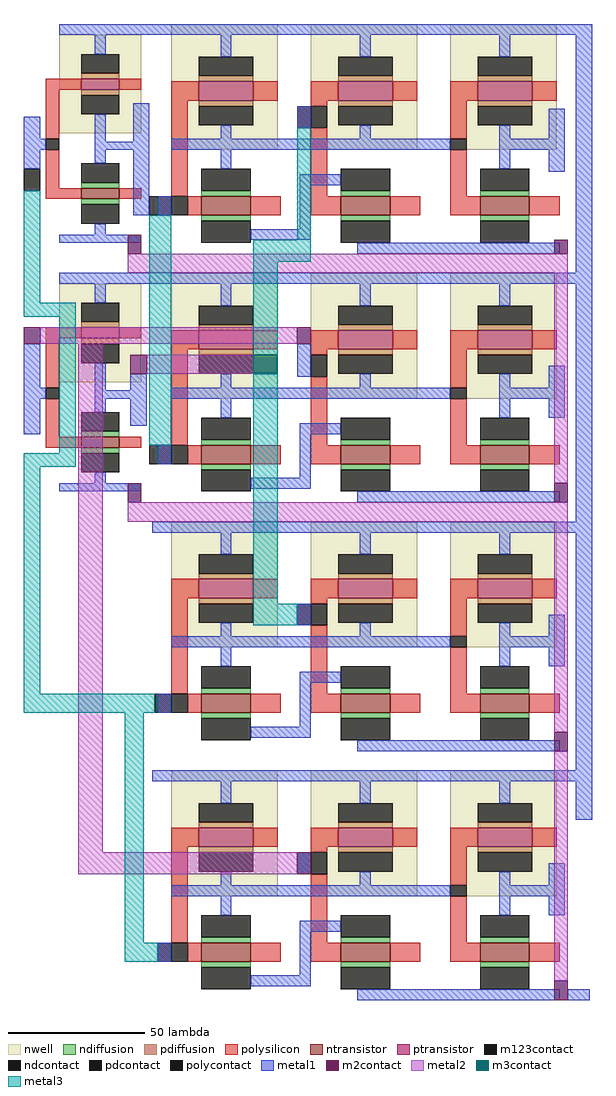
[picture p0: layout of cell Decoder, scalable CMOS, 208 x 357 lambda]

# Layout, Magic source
magic
tech scmos
<< metal1 >>
rect -145 165 -75 169
rect 24 165 50 169
rect -158 116 -152 135
rect -118 99 -112 140
rect 34 115 40 138
rect 26 85 36 89
rect 44 78 50 165
rect -145 74 -75 78
rect 27 74 50 78
rect -158 19 -152 52
rect -119 22 -113 41
rect -58 40 -53 52
rect 34 25 40 44
rect 25 -6 36 -2
rect 44 -13 50 74
rect 27 -17 50 -13
rect 34 -66 40 -47
rect 25 -97 36 -93
rect 44 -104 50 -17
rect 27 -108 50 -104
rect 44 -122 50 -108
rect 34 -157 40 -138
rect 27 -188 36 -184
rect 41 -188 49 -184
<< m2contact >>
rect -120 85 -115 92
rect 36 85 41 90
rect -158 52 -152 58
rect -58 52 -53 58
rect -119 41 -113 48
rect -120 -6 -115 1
rect 36 -6 41 1
rect 36 -97 41 -90
rect -58 -142 -53 -134
rect 36 -188 41 -181
<< metal2 >>
rect -120 78 41 85
rect -152 52 -58 58
rect -138 -134 -129 52
rect -113 41 -74 48
rect 36 1 41 78
rect -120 -13 41 -6
rect 36 -90 41 -13
rect -138 -142 -58 -134
rect 36 -181 41 -97
<< m3contact >>
rect -74 41 -65 48
<< m123contact >>
rect -58 131 -53 139
rect -158 108 -152 116
rect -112 99 -104 106
rect -112 8 -104 15
rect -58 -51 -53 -43
rect -110 -83 -104 -76
rect -109 -174 -104 -167
<< metal3 >>
rect -158 67 -152 108
rect -158 62 -139 67
rect -145 12 -139 62
rect -158 7 -139 12
rect -112 15 -104 99
rect -58 90 -53 131
rect -74 82 -53 90
rect -74 48 -65 82
rect -158 -76 -152 7
rect -74 -43 -65 41
rect -74 -51 -58 -43
rect -158 -83 -110 -76
rect -121 -167 -114 -83
rect -121 -174 -109 -167
use CMOS_in  CMOS_in_1
transform 1 0 -145 0 1 38
box -13 -40 30 39
use CMOS_in  CMOS_in_0
transform 1 0 -145 0 1 129
box -13 -40 30 39
use AND_2  AND_2_0
transform 1 0 -103 0 1 122
box -8 -37 143 47
use AND_2  AND_2_1
transform 1 0 -103 0 1 31
box -8 -37 143 47
use AND_2  AND_2_2
transform 1 0 -103 0 1 -60
box -8 -37 143 47
use AND_2  AND_2_3
transform 1 0 -103 0 1 -151
box -8 -37 143 47
<< end >>

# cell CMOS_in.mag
magic
tech scmos
<< nwell >>
rect 0 0 30 36
<< ntransistor >>
rect 8 -24 22 -20
<< ptransistor >>
rect 8 16 22 20
<< ndiffusion >>
rect 8 -20 22 -18
rect 8 -26 22 -24
<< pdiffusion >>
rect 8 20 22 22
rect 8 14 22 16
<< ndcontact >>
rect 8 -18 22 -11
rect 8 -33 22 -26
<< pdcontact >>
rect 8 22 22 29
rect 8 7 22 14
<< polysilicon >>
rect -5 16 8 20
rect 22 16 30 20
rect -5 -2 0 16
rect -5 -20 0 -6
rect -5 -24 8 -20
rect 22 -24 30 -20
<< polycontact >>
rect -5 -6 0 -2
<< metal1 >>
rect 0 36 30 39
rect 13 29 17 36
rect -13 -6 -5 -2
rect 13 -3 17 7
rect 13 -6 30 -3
rect 13 -11 17 -6
rect 13 -37 17 -33
rect 0 -40 30 -37
<< end >>

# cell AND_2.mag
magic
tech scmos
<< nwell >>
rect -1 1 38 47
rect 50 1 89 47
rect 101 1 140 47
<< ntransistor >>
rect 10 -23 28 -16
rect 61 -23 79 -16
rect 112 -23 130 -16
<< ptransistor >>
rect 9 19 29 26
rect 60 19 80 26
rect 111 19 131 26
<< ndiffusion >>
rect 10 -16 28 -14
rect 61 -16 79 -14
rect 112 -16 130 -14
rect 10 -25 28 -23
rect 61 -25 79 -23
rect 112 -25 130 -23
<< pdiffusion >>
rect 9 26 29 28
rect 60 26 80 28
rect 111 26 131 28
rect 9 17 29 19
rect 60 17 80 19
rect 111 17 131 19
<< ndcontact >>
rect 10 -14 28 -6
rect 61 -14 79 -6
rect 112 -14 130 -6
rect 10 -33 28 -25
rect 61 -33 79 -25
rect 112 -33 130 -25
<< pdcontact >>
rect 9 28 29 35
rect 60 28 80 35
rect 111 28 131 35
rect 9 10 29 17
rect 60 10 80 17
rect 111 10 131 17
<< polysilicon >>
rect -1 19 9 26
rect 29 19 38 26
rect 50 19 60 26
rect 80 19 89 26
rect 101 19 111 26
rect 131 19 140 26
rect -1 -16 5 19
rect 50 17 56 19
rect 50 -16 56 9
rect 101 5 107 19
rect 101 -16 107 1
rect 5 -23 10 -16
rect 28 -23 39 -16
rect 50 -23 61 -16
rect 79 -23 90 -16
rect 101 -23 112 -16
rect 130 -23 141 -16
<< polycontact >>
rect 50 9 56 17
rect 101 1 107 5
rect -1 -23 5 -16
<< metal1 >>
rect -8 43 140 47
rect 17 35 21 43
rect 68 35 72 43
rect 119 35 123 43
rect 17 5 21 10
rect 45 9 50 17
rect 68 5 72 10
rect 119 5 123 10
rect -1 1 101 5
rect 119 1 143 5
rect 17 -6 21 1
rect 119 -6 123 1
rect 46 -12 61 -8
rect -6 -23 -1 -16
rect 46 -28 50 -12
rect 28 -32 50 -28
rect 67 -37 141 -33
<< end >>
